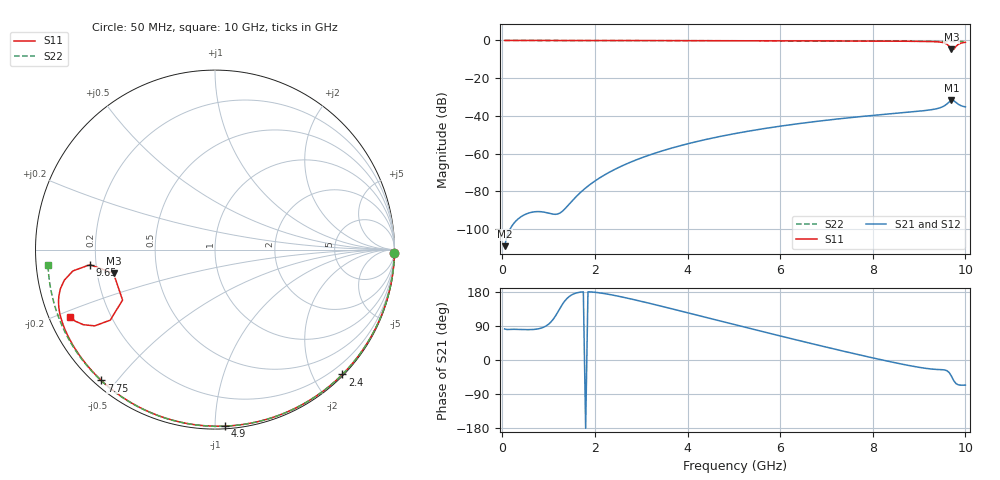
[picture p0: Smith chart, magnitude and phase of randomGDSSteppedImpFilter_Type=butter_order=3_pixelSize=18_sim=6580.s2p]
! freq	dB(S11)	phase(S11)	dB(S12)	phase(S12)
!  dB(S21)	phase(S21)	dB(S22)	phase(S22)
!S-par simulation data
#  GHz  S  DB  R 50
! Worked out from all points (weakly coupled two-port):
!   200 points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, 50 MHz to 10 GHz, reference 50 ohm
!   highest |S21| = -31.81 dB at 9.7 GHz (marker M1); lowest = -109.0 dB at 50 MHz (marker M2)
!   lowest |S11| = -4.7 dB at 9.7 GHz (marker M3), VSWR 3.77, Z = 13.4 - j5.37 ohm
!   |S11| at or under -10 dB: nowhere
!   |S22| runs from -0.6 to 0.0 dB; largest |S21 - S12| = 0
!   S11 on the Smith chart (normalised r, x): 50 MHz: open; 2.4 GHz: 0.02, -2.45; 4.9 GHz: 0.02, -1.06; 7.75 GHz: 0.02, -0.46; 9.65 GHz: 0.18, -0.06; 10 GHz: 0.06, -0.22
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0.05  -0.00 -1.0  -109.04 82.0  -109.04 82.0  -0.00 -1.0
0.85  -0.02 -16.0  -90.81 84.6  -90.81 84.6  -0.02 -16.5
1.7  -0.04 -31.8  -80.30 179.3  -80.30 179.3  -0.04 -32.7
1.75  -0.04 -32.7  -79.21 179.8  -79.21 179.8  -0.04 -33.6
2.05  -0.05 -38.1  -73.67 178.0  -73.67 178.0  -0.05 -39.3
2.4  -0.06 -44.4  -68.70 170.9  -68.70 170.9  -0.06 -45.8
2.85  -0.07 -52.4  -63.71 159.1  -63.71 159.1  -0.07 -54.0
3.4  -0.08 -61.9  -58.93 143.0  -58.93 143.0  -0.08 -63.8
4.9  -0.13 -86.8  -49.93 97.0  -49.93 97.0  -0.14 -89.6
5.05  -0.14 -89.2  -49.24 92.4  -49.24 92.4  -0.14 -92.1
6.7  -0.22 -114.9  -43.15 42.6  -43.15 42.6  -0.23 -119.0
7.75  -0.30 -131.0  -40.33 12.4  -40.33 12.4  -0.32 -136.0
8.35  -0.36 -140.4  -38.94 -3.8  -38.94 -3.8  -0.38 -145.8
9.05  -0.48 -152.7  -37.36 -20.3  -37.36 -20.3  -0.46 -157.6
9.4  -0.74 -161.6  -36.06 -25.1  -36.06 -25.1  -0.50 -163.7
9.55  -1.34 -168.5  -34.58 -26.3  -34.58 -26.3  -0.53 -166.4
9.65  -3.08 -173.1  -32.62 -33.1  -32.62 -33.1  -0.54 -168.2
9.7  -4.73 -166.8  -31.81 -42.9  -31.81 -42.9  -0.55 -169.1
9.75  -4.63 -151.4  -31.98 -54.8  -31.98 -54.8  -0.55 -170.0
9.8  -3.05 -146.0  -32.90 -62.6  -32.90 -62.6  -0.56 -171.0
9.9  -1.47 -150.3  -34.51 -66.4  -34.51 -66.4  -0.58 -172.9
10  -1.00 -154.9  -35.20 -66.3  -35.20 -66.3  -0.59 -174.7
